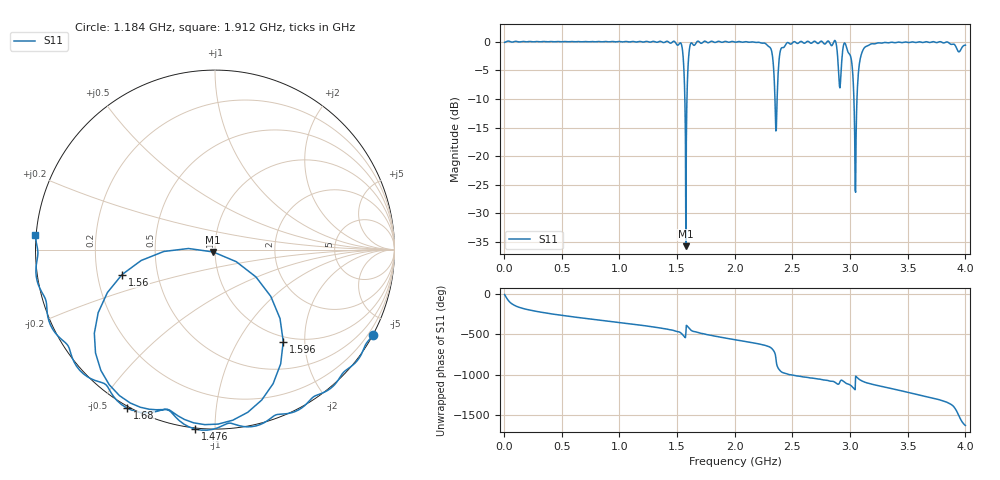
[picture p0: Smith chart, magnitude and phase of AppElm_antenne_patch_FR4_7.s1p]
! TOUCHSTONE file generated by CST MICROWAVE STUDIO
! Date and time: Tue Jun 14 11:27:52 2022
! Project name: AppElm_antenne_patch_FR4.cst
! Parameters = {L=45; W=61.425; e=0.035; h=1.6; lambda=0.190476; ls=120; w0=2.54; w1=0.847; ws=120; y0=18; y1=23.8}
! Header version: 2018
! Port assignment regex: !\s*Touchstone port\s*([0-9]+)\s*=\s*(CST MWS port|CST DS port)\s*([0-9]+|Zmin|Zmax)\s*\(\"(.*)\"\)(\s*mode\s*([0-9]+))?.*
! Touchstone port assignment:
! Touchstone port 1 = CST MWS port 1 ("")
# GHz S MA R 50
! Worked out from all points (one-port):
!   1000 points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, 4 MHz to 4 GHz, reference 50 ohm
!   lowest |S11| = -35.7 dB at 1.576 GHz (marker M1), VSWR 1.03, Z = 49 - j1.3 ohm
!   |S11| at or under -10 dB: 1.567 GHz to 1.585 GHz (18.55 MHz wide, 1.18 % of centre); 2.348 GHz to 2.367 GHz (18.9 MHz wide, 0.802 % of centre); 3.033 GHz to 3.06 GHz (26.79 MHz wide, 0.879 % of centre)
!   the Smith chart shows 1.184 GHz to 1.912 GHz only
!   S11 on the Smith chart (normalised r, x): 1.184 GHz: -0.02, -3.97; 1.476 GHz: -0.01, -0.90; 1.56 GHz: 0.31, -0.12; 1.596 GHz: 0.92, -1.58; 1.68 GHz: -0.01, -0.59; 1.912 GHz: -0.00, +0.04
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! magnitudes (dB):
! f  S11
! 4 MHz  -0.1
! 504 MHz  0.0
! 1.004 GHz  0.0
! 1.184 GHz  0.0
! 1.476 GHz  0.1
! 1.504 GHz  -0.6
! 1.54 GHz  -0.7
! 1.56 GHz  -5.4
! 1.576 GHz  -35.7
! 1.596 GHz  -3.9
! 1.616 GHz  -0.4
! 1.68 GHz  0.1
! 1.912 GHz  0.0
! 2.004 GHz  -0.1
! 2.3 GHz  -0.9
! 2.356 GHz  -15.6
! 2.404 GHz  -1.1
! 2.504 GHz  -0.1
! 2.864 GHz  0.2
! 2.912 GHz  -8.1
! 2.952 GHz  -0.2
! 3.004 GHz  -2.5
! 3.032 GHz  -9.3
! 3.048 GHz  -26.3
! 3.084 GHz  -3.4
! 3.12 GHz  -1.2
! 3.504 GHz  -0.1
! 4 GHz  -0.6
